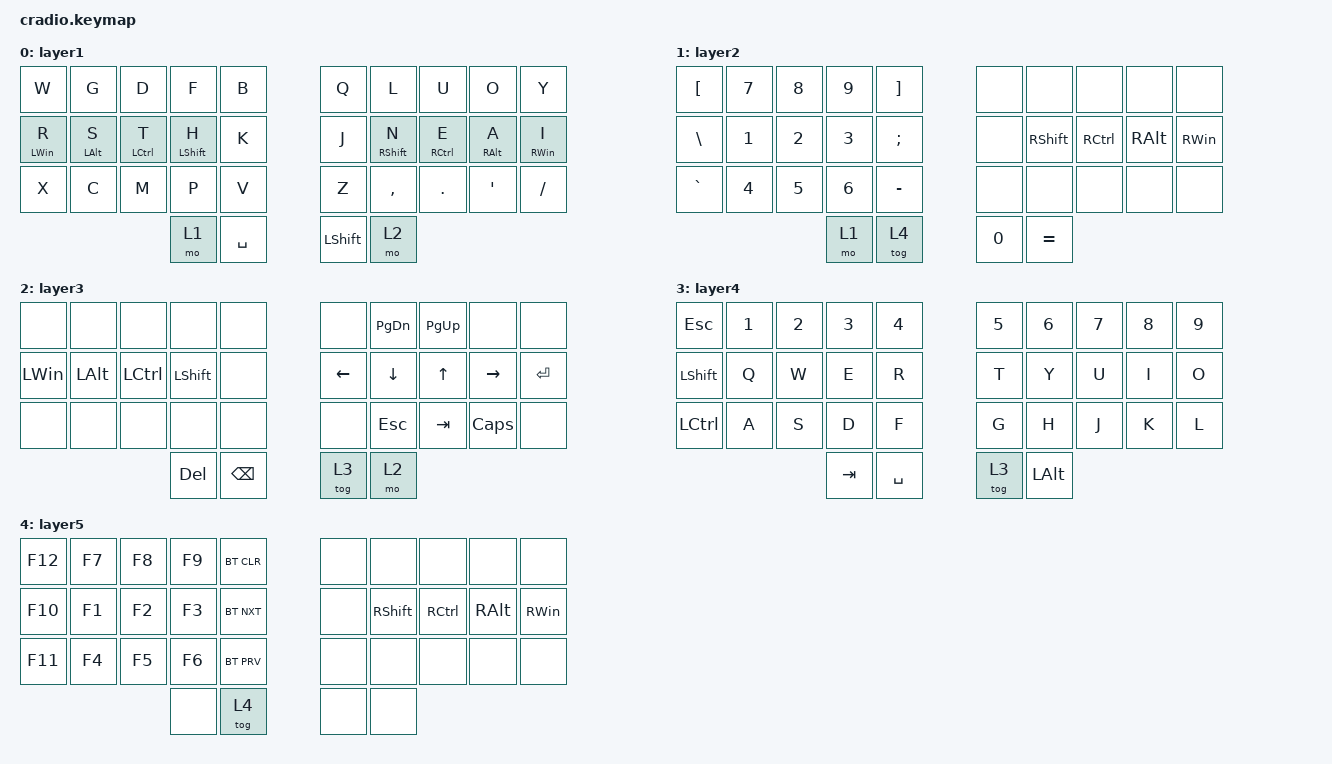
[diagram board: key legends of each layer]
/*
 * Copyright (c) 2020 The ZMK Contributors
 *
 * SPDX-License-Identifier: MIT
 */

#include <behaviors.dtsi>
#include <dt-bindings/zmk/keys.h>
#include <dt-bindings/zmk/bt.h>

/ { 

behaviors {
        hm: homerow_mods {
            compatible = "zmk,behavior-hold-tap";
            label = "HOMEROW_MODS";
            #binding-cells = <2>;
            tapping-term-ms = <200>;
            quick-tap-ms = <0>;
            flavor = "tap-preferred";
            bindings = <&kp>, <&kp>;
        };
    };

    combos {
        compatible = "zmk,combos";
        combo_esc {
            timeout-ms = <50>;
            key-positions = <0 1>;
            bindings = <&kp ESC>;
        };
        
         combo_tab {
            timeout-ms = <50>;
            key-positions = <10 11>;
            bindings = <&kp TAB>;
        };
        
            combo_ralt {
            timeout-ms = <50>;
             key-positions = <17 16>;
            bindings = <&kp RALT>;
        };
        
                    combo_lalt {
            timeout-ms = <50>;
            key-positions = <11 12>;
            bindings = <&kp LALT>;
        };
        
                           combo_lgui {
            timeout-ms = <50>;
            key-positions = <12 13>;
            bindings = <&kp LGUI>;
        };
        
        
           combo_rgui {
            timeout-ms = <50>;
            key-positions = <17 18>;
            bindings = <&kp RGUI>;
        };
        

        
    };

        keymap {
                compatible = "zmk,keymap";
                
       		layer1 {
		bindings = <
		&kp W &kp G &kp D &kp F &kp B 						&kp Q &kp L  &kp U    &kp O   &kp Y 
		&hm LWIN R &hm LALT S &hm LCTRL T &hm LSHIFT H &kp K 			&kp J &hm RSHIFT N &hm RCTRL E &hm RALT A &hm RWIN I
		&kp X &kp C &kp M &kp P &kp V				        	&kp Z &kp CMMA  &kp DOT &kp SQT &kp FSLH
          				&mo 1 &kp SPC  					&kp LSHIFT &mo 2 
		>;
		};

       		layer2 {
		bindings = <
		&kp LBKT &kp N7 &kp N8 &kp N9 &kp RBKT					&none	&none	&none	&none	&none
		&kp BSLH &kp N1 &kp N2 &kp N3 &kp SEMI					&none	&kp RSHIFT &kp RCTRL &kp RALT &kp RWIN
		&kp GRAVE &kp N4 &kp N5 &kp N6 &kp MINUS 				&none	&none	&none	&none	&none
					    &mo 1  &tog 4  				&kp N0 &kp EQUAL 
		>;
		};
		
		layer3 {
		bindings = <
		&none &none &none &none &none			  			&none &kp PG_DN &kp PG_UP &none &none
		&kp LWIN &kp LALT &kp LCTRL &kp LSHIFT &none				&kp LEFT &kp DOWN &kp UP &kp RIGHT &kp RET 
		&none &none &none &none &none 				    		&none &kp ESC &kp TAB &kp CAPS &none
				&kp DEL &kp BSPC  					&tog 3 &mo 2 
		>;
		};	
		
		layer4 {
		bindings = <
		&kp ESC &kp N1 &kp N2 &kp N3 &kp N4 					&kp N5 &kp N6 &kp N7 &kp N8 &kp N9
		&kp LSHIFT &kp Q &kp W &kp E &kp R 					&kp T &kp Y &kp U &kp I &kp O
		&kp LCTRL &kp A &kp S &kp D &kp F  					&kp G &kp H &kp J &kp K &kp L
					 &kp TAB &kp SPC  				&tog 3 &kp LALT
		>;
		};	

		layer5 {
		bindings = <
		&kp F12 &kp F7 &kp F8 &kp F9 &bt BT_CLR					&none	&none	&none	&none	&none
		&kp F10 &kp F1 &kp F2 &kp F3 &bt BT_NXT 				&none	&kp RSHIFT &kp RCTRL &kp RALT &kp RWIN
		&kp F11 &kp F4 &kp F5 &kp F6 &bt BT_PRV					&none	&none	&none	&none	&none
					 &none &tog 4  					&none &none
		>;
		};	
        
	};
};
